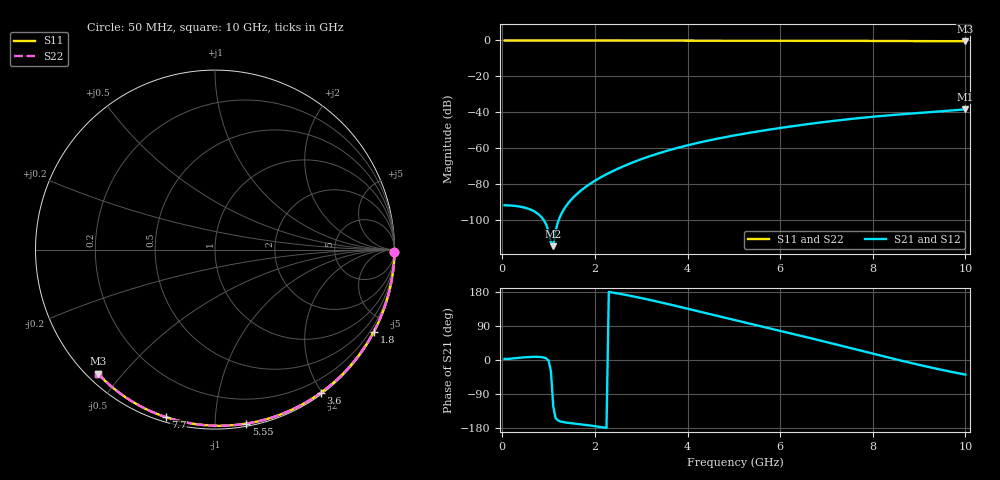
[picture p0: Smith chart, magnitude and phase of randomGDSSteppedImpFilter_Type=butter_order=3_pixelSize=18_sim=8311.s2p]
! freq	dB(S11)	phase(S11)	dB(S12)	phase(S12)
!  dB(S21)	phase(S21)	dB(S22)	phase(S22)
!S-par simulation data
#  GHz  S  DB  R 50
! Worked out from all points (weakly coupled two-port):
!   200 points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, 50 MHz to 10 GHz, reference 50 ohm
!   highest |S21| = -38.38 dB at 10 GHz (marker M1); lowest = -114.7 dB at 1.1 GHz (marker M2)
!   lowest |S11| = -0.4 dB at 10 GHz (marker M3), VSWR 39.13, Z = 1.52 - j21.5 ohm
!   |S11| at or under -10 dB: nowhere
!   |S22| runs from -0.4 to 0.0 dB; largest |S21 - S12| = 0
!   S11 on the Smith chart (normalised r, x): 50 MHz: open; 1.8 GHz: 0.04, -4.11; 3.6 GHz: 0.02, -1.99; 5.55 GHz: 0.02, -1.20; 7.7 GHz: 0.02, -0.75; 10 GHz: 0.03, -0.43
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0.05  -0.00 -0.8  -91.86 3.0  -91.86 3.0  -0.00 -0.8
0.55  -0.01 -8.4  -93.71 7.7  -93.71 7.7  -0.01 -8.4
1.1  -0.02 -16.8  -114.68 -121.6  -114.68 -121.6  -0.02 -16.8
1.75  -0.03 -26.6  -82.61 -170.6  -82.61 -170.6  -0.03 -26.6
1.8  -0.03 -27.3  -81.65 -171.4  -81.65 -171.4  -0.03 -27.3
1.9  -0.04 -28.8  -79.86 -172.9  -79.86 -172.9  -0.04 -28.8
2.05  -0.04 -31.0  -77.44 -175.5  -77.44 -175.5  -0.04 -31.0
2.25  -0.04 -34.0  -74.57 -179.2  -74.57 -179.2  -0.04 -34.0
2.65  -0.05 -39.8  -69.74 172.1  -69.74 172.1  -0.05 -39.8
3  -0.06 -44.9  -66.20 163.5  -66.20 163.5  -0.06 -44.9
3.4  -0.07 -50.6  -62.74 152.7  -62.74 152.7  -0.07 -50.6
3.6  -0.07 -53.4  -61.20 147.0  -61.20 147.0  -0.07 -53.4
3.9  -0.08 -57.6  -59.10 138.3  -59.10 138.3  -0.08 -57.6
4.3  -0.09 -63.1  -56.63 126.6  -56.63 126.6  -0.09 -63.1
5.05  -0.11 -73.2  -52.77 104.5  -52.77 104.5  -0.11 -73.2
5.55  -0.13 -79.8  -50.58 90.0  -50.58 90.0  -0.13 -79.8
6.1  -0.15 -86.8  -48.41 74.0  -48.41 74.0  -0.15 -86.8
6.7  -0.18 -94.3  -46.29 56.4  -46.29 56.4  -0.18 -94.3
7.7  -0.24 -106.5  -43.28 25.9  -43.28 25.9  -0.24 -106.5
8.35  -0.29 -114.2  -41.73 6.1  -41.73 6.1  -0.29 -114.2
9.15  -0.36 -123.5  -40.13 -17.0  -40.13 -17.0  -0.36 -123.6
10  -0.44 -133.4  -38.38 -38.6  -38.38 -38.6  -0.44 -133.4
